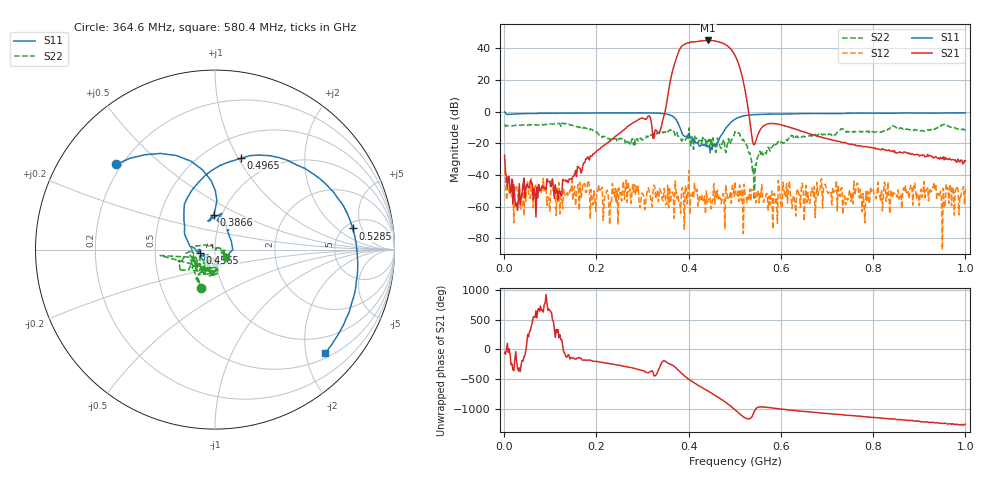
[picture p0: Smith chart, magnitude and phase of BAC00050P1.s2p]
!measured: 2026-10-27T15:24:54
!cal_instance: BBtestOct27
!cal_created: 2026-10-27T14:45
!cal_file: BBtesting.cal
!port1_delay_ps: -58.63
!port2_delay_ps: -59.31
!host: dhcp-10-250-247-203.harvard.edu
! Created with skrf 2.1.0 (http://scikit-rf.org).
# Hz S RI R 50.0
!freq ReS11 ImS11 ReS21 ImS21 ReS12 ImS12 ReS22 ImS22
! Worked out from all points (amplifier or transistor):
!   501 points, 1 MHz to 1 GHz, reference 50 ohm
!   highest |S21| = 45.0 dB at 442.6 MHz (marker M1)
!   |S21| within 3 dB of that: 387.6 MHz to 481.8 MHz (94.19 MHz wide, 21.7 % of centre)
!   unconditionally stable (mu >= 1): start of sweep to 399.7 MHz; 413 MHz to 454.5 MHz; 454.6 MHz to end of sweep (the widest 3 of 4)
!   at 166.8 MHz: K = 3710.53, MAG = -31.0 dB, |S12| = -54.3 dB
!   at 500.5 MHz: K = 1.07, MAG = 38.2 dB, |S12| = -44.1 dB
!   at 1 GHz: K = 652.67, MAG = -22.5 dB, |S12| = -48.4 dB
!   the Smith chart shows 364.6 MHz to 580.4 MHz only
!   S11 on the Smith chart (normalised r, x): 364.6 MHz: 0.18, +0.36; 386.6 MHz: 0.91, +0.37; 456.5 MHz: 0.84, -0.03; 496.5 MHz: 0.73, +1.03; 528.5 MHz: 5.84, +3.47; 580.4 MHz: 0.61, -2.40
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1000000  -0.4207 0.8915  0.0284 -0.0307  -0.00667 0.0137  0.3982 -0.0526
1.68832e8  0.4981 -0.756  -0.0142 -0.00064  -0.00265 8.04e-05  -0.0224 -0.3179
3.34666e8  -0.8445 -0.2998  0.2023 0.059  -0.00127 0.000662  0.0457 -0.2132
3.64636e8  -0.5493 0.4747  -2.377 18.1  -0.00261 0.0012  -0.0767 -0.2163
3.76624e8  -0.069 0.444  63.2 21.82  -0.00178 -0.0016  -0.1153 -0.1204
3.86614e8  -0.00701 0.1941  72.9 -99.56  0.000256 0.00405  -0.1277 -0.0082
3.96604e8  -0.0283 0.1664  -73.89 -127.1  0.00113 -0.000513  -0.1252 -0.104
4.08592e8  0.0506 0.1379  -158.6 13.63  0.00114 0.00289  -0.0963 -0.1244
4.26574e8  0.0614 -0.0617  -5.452 171.5  9.93e-05 -0.00168  -0.0709 -0.1209
4.42558e8  -0.0433 -0.0646  168.4 58.4  0.000596 0.00148  -0.0188 -0.1159
4.56544e8  -0.085 -0.0174  119.6 -123.8  0.00119 0.000115  -0.0518 -0.0839
4.66534e8  -0.1397 0.0189  -13.37 -159.6  -0.00137 0.00143  -0.0462 -0.0841
4.78522e8  -0.1732 0.2069  -124 -51.85  0.000127 -0.000154  0.0154 -0.076
4.88512e8  -0.058 0.4098  -85.93 61.62  -0.00172 -0.00116  -0.0305 -0.0896
4.96504e8  0.1444 0.5083  -4.634 75.6  0.00469 0.000208  -0.1363 -0.0868
5.005e8  0.2467 0.5266  23.56 55.03  -0.00102 0.00616  -0.2023 -0.1148
5.12488e8  0.5445 0.4239  20.06 -4.79  0.00186 0.000859  -0.1615 -0.0201
5.28472e8  0.7674 0.1178  0.1296 -1.361  -0.00202 0.000373  -0.0611 0.0263
5.8042e8  0.615 -0.5735  -0.0605 0.4164  0.00186 -0.00252  0.0613 -0.0412
6.68332e8  0.079 -0.8726  0.1697 0.082  -0.00323 -0.00101  0.0301 -0.1661
8.34166e8  -0.5834 -0.6724  0.00516 -0.0623  -0.00137 0.00172  -0.1672 -0.2215
1e9  -0.8875 -0.2471  -0.028 -0.00227  -0.00375 0.000699  -0.2262 -0.1567
